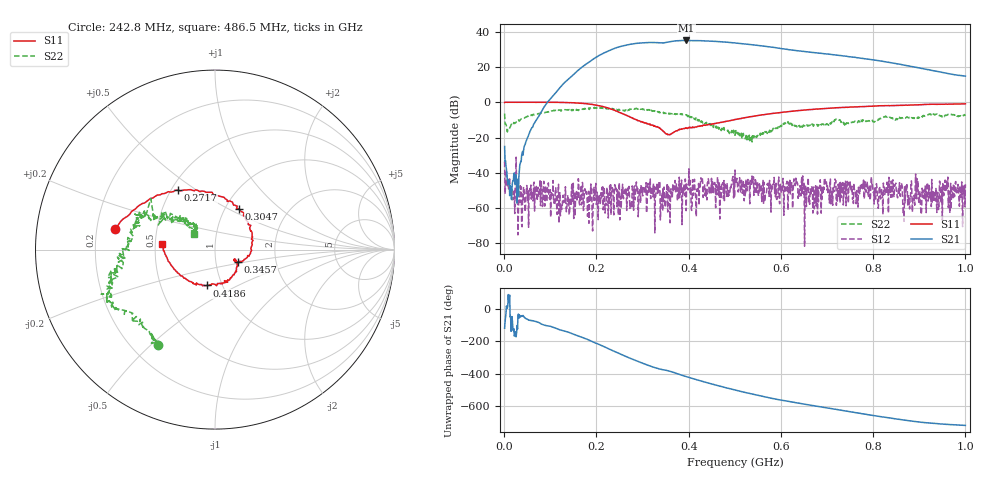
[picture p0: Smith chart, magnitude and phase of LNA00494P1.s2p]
! Created with skrf 1.9.0 (http://scikit-rf.org).
# Hz S RI R 50.0
!freq ReS11 ImS11 ReS21 ImS21 ReS12 ImS12 ReS22 ImS22
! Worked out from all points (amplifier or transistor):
!   1001 points, 1 MHz to 1 GHz, reference 50 ohm
!   highest |S21| = 35.0 dB at 394.6 MHz (marker M1)
!   |S21| within 3 dB of that: 258.6 MHz to 555.8 MHz (297.3 MHz wide, 73 % of centre)
!   unconditionally stable (mu >= 1): 199.1 MHz to 228.7 MHz; 249.8 MHz to 400.2 MHz; 400.9 MHz to end of sweep (the widest 3 of 40)
!   at 166.8 MHz: K = 0.70, MSG = 33.3 dB, |S12| = -47.0 dB
!   at 500.5 MHz: K = 1.03, MAG = 34.9 dB, |S12| = -38.4 dB
!   at 1 GHz: K = 3.17, MAG = 22.7 dB, |S12| = -46.5 dB
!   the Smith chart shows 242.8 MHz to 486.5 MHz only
!   S11 on the Smith chart (normalised r, x): 242.8 MHz: 0.28, +0.09; 271.7 MHz: 0.54, +0.42; 304.7 MHz: 1.16, +0.56; 345.7 MHz: 1.28, -0.18; 418.6 MHz: 0.85, -0.35; 486.5 MHz: 0.55, +0.04
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1000000  0.9891 0.00267  -0.0287 -0.048  -0.0188 0.0092  0.3581 0.3179
1.09891e8  0.5209 -0.851  -0.8299 -1.532  0.000978 0.00081  0.451 -0.3791
1.67833e8  -0.2071 -0.9099  -9.668 -0.7476  -0.00107 0.00062  0.0539 -0.6346
2.09791e8  -0.6551 -0.4129  -15.76 16.16  0.00086 -0.00258  -0.1779 -0.6509
2.26774e8  -0.6642 -0.1262  -10.89 26.63  -0.000135 -0.00225  -0.2667 -0.5933
2.42758e8  -0.5567 0.1155  -1.077 34.68  -0.00364 -0.000429  -0.3174 -0.5292
2.71729e8  -0.2089 0.331  24.36 35.9  -0.0016 0.00148  -0.4956 -0.3408
3.04696e8  0.1325 0.227  46.25 15.4  -0.00338 0.000604  -0.5921 -0.2061
3.34666e8  0.1919 -0.03  47.8 -8.683  -0.000104 0.00283  -0.5388 -0.0691
3.45655e8  0.1294 -0.0696  46.09 -14.31  0.000991 0.00124  -0.5172 0.00517
3.68632e8  0.1216 -0.0758  44.83 -30.7  0.000697 0.00338  -0.4359 0.1532
3.94606e8  0.0708 -0.1678  29.15 -48.22  0.000849 2.48e-05  -0.392 0.185
4.18582e8  -0.0443 -0.1996  10.24 -54.61  0.00218 0.00234  -0.2617 0.1688
4.49551e8  -0.1953 -0.1419  -13.07 -52.01  0.0049 0.00499  -0.1706 0.1562
4.86514e8  -0.2928 0.0296  -32.95 -37.29  0.00208 -0.0023  -0.1156 0.0856
5.005e8  -0.3072 0.1161  -37.83 -29.79  0.0115 0.00344  -0.0842 0.0797
5.39461e8  -0.241 0.3157  -41.34 -8.885  0.000969 -0.00531  -0.0872 -0.0191
5.83417e8  -0.0644 0.4791  -34.55 9.303  0.00268 -0.00406  -0.1653 -0.0786
6.67333e8  0.3266 0.5336  -14.08 21.57  -0.00313 -0.00228  -0.2416 -0.00875
7.55245e8  0.6375 0.3666  2.657 18.85  0.000209 -0.00176  -0.2749 0.0317
8.34166e8  0.7879 0.1389  9.27 9.846  -0.0047 -0.00578  -0.3673 0.0286
1e9  0.8131 -0.3954  5.519 -0.00568  -0.00147 -0.00452  -0.2579 0.3583
